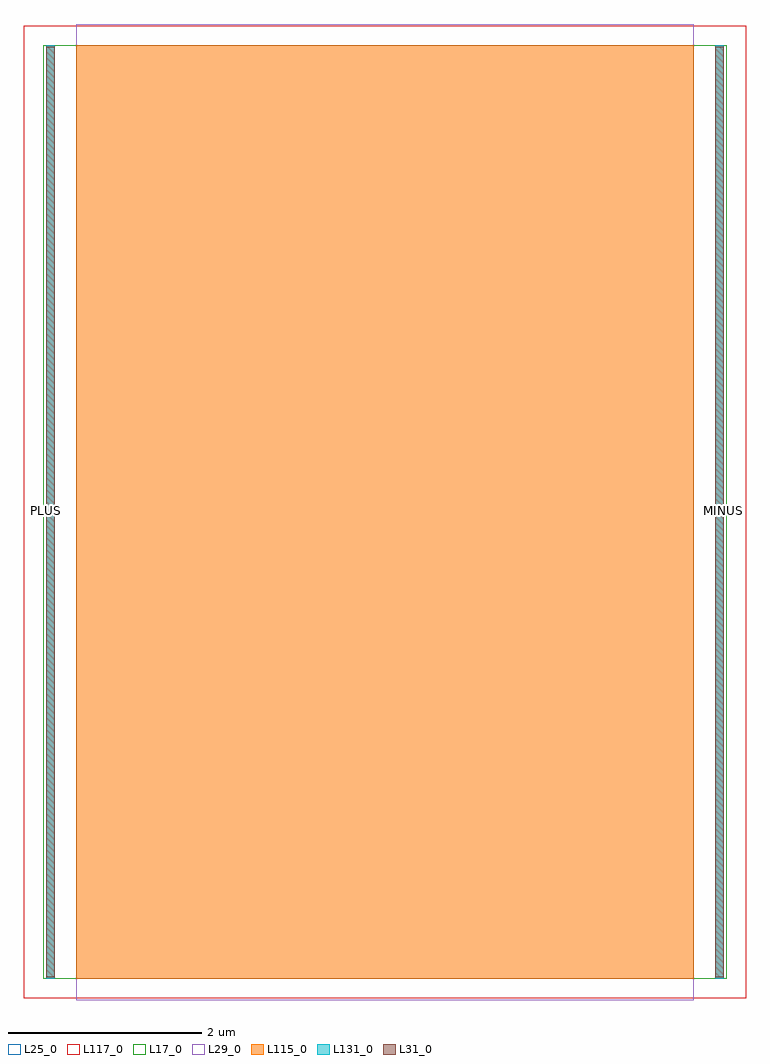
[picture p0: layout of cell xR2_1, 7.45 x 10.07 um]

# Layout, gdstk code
import gdstk
lib = gdstk.Library(unit=1e-6, precision=1e-09)
def R(c, l, rs):  # rectangles x0, y0, x1, y1
    for r in rs: c.add(gdstk.rectangle(r[:2], r[2:], *l))
L17_0 = (17, 0)
L25_0 = (25, 0)
L29_0 = (29, 0)
L31_0 = (31, 0)
L115_0 = (115, 0)
L117_0 = (117, 0)
L131_0 = (131, 0)

xr2_1 = lib.new_cell('xR2_1')
R(xr2_1, L17_0, [(0.2,0.22,7.25,9.85)])
R(xr2_1, L25_0, [(0,0.02,7.45,10.05)])
R(xr2_1, L29_0, [(0.54,0,6.91,10.07)])
R(xr2_1, L31_0, [(0.23,0.235,0.32,9.835), (7.13,0.235,7.22,9.835)])
R(xr2_1, L115_0, [(0.54,0.22,6.91,9.85)])
R(xr2_1, L117_0, [(0,0.02,7.45,10.05)])
R(xr2_1, L131_0, [(0.23,0.22,0.32,9.85), (7.13,0.22,7.22,9.85)])
xr2_1.add(gdstk.Label('PLUS', (0.23,5.05), layer=131, texttype=0))
xr2_1.add(gdstk.Label('MINUS', (7.22,5.05), layer=131, texttype=0))

lib.write_gds('xR2_1.gds')
